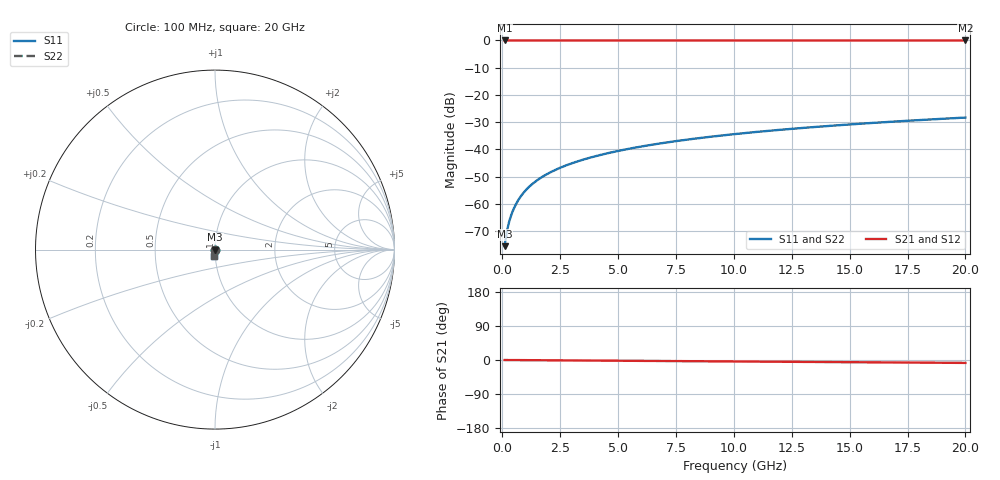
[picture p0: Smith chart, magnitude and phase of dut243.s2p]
! Touchstone file exported from HFSS 2026.1.0
!  File:  C:/ffzhzh/LocalFiles/Ansys_Project_Files/temp_train_TSV_243_1782992660_41620.aedt
!  Generated:  07:45:33 PM Jul  2, 2026
!  Design:  TSV
!  Project:  temp_train_TSV_243_1782992660_41620
! Variables:
!  h_bsmrdl = 2um
!  h_ox = 20um
!  h_rdl = 5um
!  h_sub = 74.49um
!  h_tmrdl = 5um
!  h_tsv = 74.49um
!  h_via = 3um
!  l_bsmrdl = 300um
!  l_sub = 429.26um
!  l_tmrdl = 200um
!  m_sub = 200um
!  pitch = 45um
!  r_tsv = 14.63um
!  s_tmrdl = 10um
!  w_bsmrdl = 18um
!  w_sub = 500um
!  w_tmrdl = 12um
!  x_tsv_center1 = 206um
!  x_tsv_center2 = 524um
!  x_tsv_center3 = 736um
!  x_tsv_center4 = 1054um
!  x_tsv_center5 = 1266um
!  x_tsv_center6 = 1584um
# GHz S MA R 50.000000
! Terminal data exported
! Port[1] = TSV1_1_T1
! Port[2] = TSV1_1_T2
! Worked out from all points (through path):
!   200 points, 100 MHz to 20 GHz, reference 50 ohm
!   highest |S21| = 0.00 dB at 100 MHz (marker M1); lowest = 0.0 dB at 20 GHz (marker M2)
!   group delay of S21, straight-line fit = 1.06 ps
!   lowest |S11| = -75.5 dB at 100 MHz (marker M3), VSWR 1.00, Z = 50 - j0.0152 ohm
!   |S11| at or under -10 dB: start of sweep to end of sweep
!   |S22| runs from -75.5 to -28.3 dB; largest |S21 - S12| = 4.3e-15
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0.1  0.0001683 -64.2  0.9999 -0.0  0.9999 -0.0  0.0001683 -64.2
! Gamma 0 0 0 0
! Port Impedance 50 0 50 0
0.2  0.0003192 -74.2  0.9999 -0.1  0.9999 -0.1  0.0003192 -74.2
0.3  0.0004813 -77.2  0.9999 -0.1  0.9999 -0.1  0.0004813 -77.2
0.4  0.0006517 -78.6  0.9999 -0.2  0.9999 -0.2  0.0006517 -78.6
0.5  0.0008288 -79.5  0.9998 -0.2  0.9998 -0.2  0.0008288 -79.5
0.7  0.001197 -80.8  0.9998 -0.3  0.9998 -0.3  0.001197 -80.8
0.8  0.001384 -81.4  0.9998 -0.3  0.9998 -0.3  0.001384 -81.4
1  0.001763 -82.5  0.9998 -0.4  0.9998 -0.4  0.001763 -82.5
1.2  0.002144 -83.3  0.9997 -0.5  0.9997 -0.5  0.002144 -83.3
1.4  0.002526 -84.1  0.9997 -0.5  0.9997 -0.5  0.002526 -84.1
1.7  0.003097 -85.0  0.9997 -0.7  0.9997 -0.7  0.003097 -85.0
2  0.003668 -85.7  0.9997 -0.8  0.9997 -0.8  0.003668 -85.7
2.7  0.005 -86.8  0.9996 -1.0  0.9996 -1.0  0.005 -86.8
3.5  0.006525 -87.7  0.9996 -1.4  0.9996 -1.4  0.006525 -87.7
4.2  0.007864 -88.3  0.9995 -1.6  0.9995 -1.6  0.007864 -88.3
5  0.0094 -88.9  0.9995 -1.9  0.9995 -1.9  0.0094 -88.9
6.8  0.01287 -90.0  0.9993 -2.6  0.9993 -2.6  0.01287 -90.0
8.3  0.01578 -90.9  0.9992 -3.2  0.9992 -3.2  0.01578 -90.9
10.1  0.01927 -91.8  0.9991 -3.9  0.9991 -3.9  0.01927 -91.8
13.4  0.02568 -93.3  0.9989 -5.2  0.9989 -5.2  0.02568 -93.3
16.7  0.03208 -94.8  0.9986 -6.4  0.9986 -6.4  0.03208 -94.8
20  0.0385 -96.2  0.9982 -7.7  0.9982 -7.7  0.0385 -96.2
